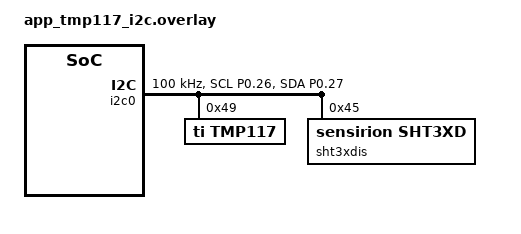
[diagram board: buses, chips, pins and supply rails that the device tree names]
/*
 * TMP117 on I2C0 — VitaBand PCB: **SCL=P0.27, SDA=P0.26** (matches psels below).
 * Default **reg = 0x49** (ADD0 → V+). Change to 0x48 if ADD0→GND, 0x4A/0x4B per TI table.
 *
 * Devicetree uses `compatible = "nordic,nrf-twim"` so Zephyr selects the TWIM driver (do not set
 * CONFIG_I2C_NRFX_TWIM in prj — it is Kconfig-hidden).
 *
 * nRF52840 DK without VitaBand wiring — append **second** overlay:
 *   app_tmp117_i2c_dkswap.overlay
 *
 * west build -b nrf52840dk/nrf52840 firmware -d firmware/build -p always -- \
 *   -DCONF_FILE=prj_tmp117_i2c.conf -DDTC_OVERLAY_FILE=app_tmp117_i2c.overlay
 */

#include <zephyr/dt-bindings/pinctrl/nrf-pinctrl.h>

/ {
	chosen {
		/delete-property/ zephyr,console;
		/delete-property/ zephyr,shell-uart;
		/delete-property/ zephyr,uart-mcumgr;
		/delete-property/ zephyr,bt-mon-uart;
		/delete-property/ zephyr,bt-c2h-uart;
	};

	pwmleds {
		status = "disabled";
	};
};

&uart0 {
	status = "disabled";
};

&adc {
	status = "disabled";
};

&i2c1 {
	status = "disabled";
};

&spi0 {
	status = "disabled";
};

&spi1 {
	status = "disabled";
};

&spi3 {
	status = "disabled";
};

&pinctrl {
	i2c0_tmp117: i2c0_tmp117 {
		group1 {
			psels = <NRF_PSEL(TWIM_SCL, 0, 26)>,
				<NRF_PSEL(TWIM_SDA, 0, 27)>;
			bias-pull-up;
		};
	};

	i2c0_tmp117_sleep: i2c0_tmp117_sleep {
		group1 {
			psels = <NRF_PSEL(TWIM_SCL, 0, 26)>,
				<NRF_PSEL(TWIM_SDA, 0, 27)>;
			low-power-enable;
		};
	};
};

&i2c0 {
	status = "okay";
	compatible = "nordic,nrf-twim";
	pinctrl-0 = <&i2c0_tmp117>;
	pinctrl-1 = <&i2c0_tmp117_sleep>;
	pinctrl-names = "default", "sleep";
	clock-frequency = <100000>;

	tmp117: tmp117@49 {
		compatible = "ti,tmp117";
		reg = <0x49>;
	};

	/* SHT3x Sensor */
	sht3xdis: sht3xdis@45 {
		compatible = "sensirion,sht3xd";
		reg = <0x45>;
		status = "okay";
	};
};
